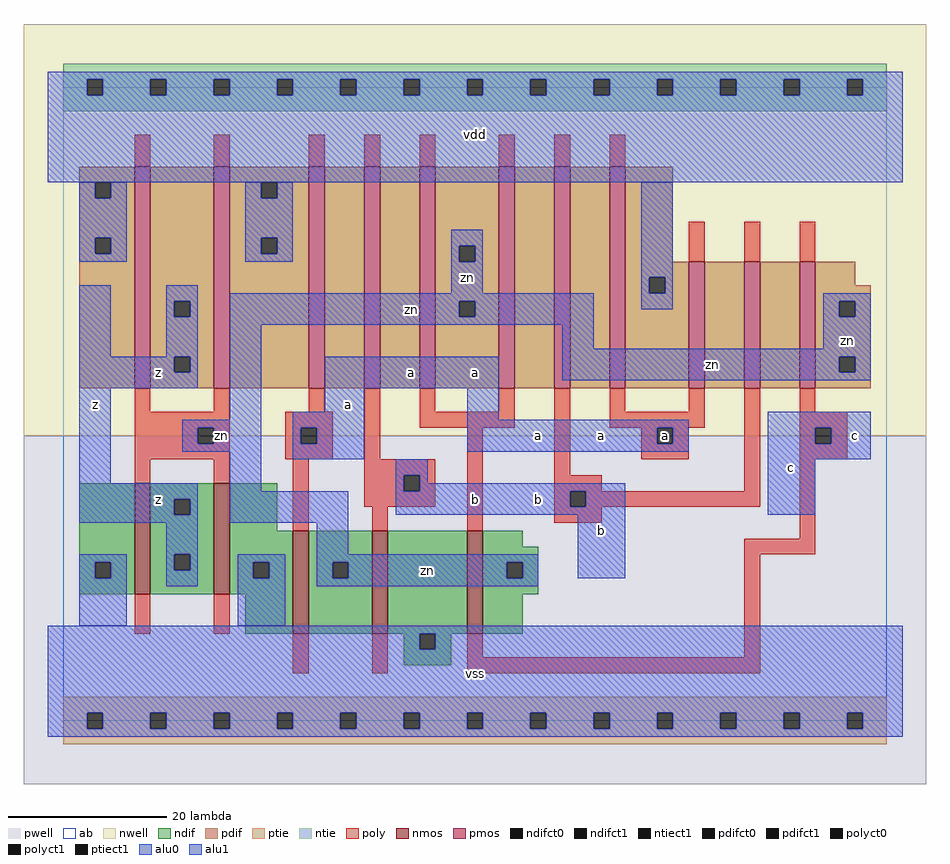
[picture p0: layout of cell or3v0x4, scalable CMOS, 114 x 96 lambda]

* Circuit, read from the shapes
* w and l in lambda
.subckt or3v0x4 a b c vdd vss z zn
M1 z zn vss vss nfet w=14 l=2 m=2
M2 zn a vss vss nfet w=13 l=2
M3 vss b zn vss nfet w=13 l=2
M4 zn c vss vss nfet w=13 l=2
M5 z zn vdd vdd pfet w=28 l=2 m=2
M6 n1 a vdd vdd pfet w=28 l=2
M7 n2 b n1 vdd pfet w=28 l=2
M8 zn c n2 vdd pfet w=28 l=2
M9 n3 c zn vdd pfet w=28 l=2
M10 n4 b n3 vdd pfet w=28 l=2
M11 vdd a n4 vdd pfet w=28 l=2
M12 n5 a vdd vdd pfet w=16 l=2
M13 n6 b n5 vdd pfet w=16 l=2
M14 zn c n6 vdd pfet w=16 l=2
.ends

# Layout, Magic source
magic
tech scmos
<< ab >>
rect 0 0 104 80
<< nwell >>
rect -5 36 109 88
<< pwell >>
rect -5 -8 109 36
<< poly >>
rect 9 70 11 74
rect 19 70 21 74
rect 31 70 33 74
rect 38 70 40 74
rect 45 70 47 74
rect 55 70 57 74
rect 62 70 64 74
rect 69 70 71 74
rect 79 58 81 63
rect 86 58 88 63
rect 93 58 95 63
rect 9 39 11 42
rect 19 39 21 42
rect 31 39 33 42
rect 9 37 21 39
rect 9 35 17 37
rect 19 35 21 37
rect 9 33 21 35
rect 28 37 34 39
rect 28 35 30 37
rect 32 35 34 37
rect 28 33 34 35
rect 38 33 40 42
rect 45 39 47 42
rect 55 39 57 42
rect 45 37 57 39
rect 9 30 11 33
rect 19 30 21 33
rect 29 24 31 33
rect 38 31 47 33
rect 38 29 43 31
rect 45 29 47 31
rect 38 27 47 29
rect 39 24 41 27
rect 51 24 53 37
rect 62 31 64 42
rect 69 39 71 42
rect 79 39 81 42
rect 69 37 81 39
rect 73 35 75 37
rect 77 35 79 37
rect 73 33 79 35
rect 62 29 68 31
rect 86 29 88 42
rect 62 27 64 29
rect 66 27 88 29
rect 93 39 95 42
rect 93 37 99 39
rect 93 35 95 37
rect 97 35 99 37
rect 93 33 99 35
rect 62 25 68 27
rect 9 11 11 16
rect 19 11 21 16
rect 93 23 95 33
rect 86 21 95 23
rect 29 6 31 11
rect 39 6 41 11
rect 51 8 53 11
rect 86 8 88 21
rect 51 6 88 8
<< ndif >>
rect 2 20 9 30
rect 2 18 4 20
rect 6 18 9 20
rect 2 16 9 18
rect 11 28 19 30
rect 11 26 14 28
rect 16 26 19 28
rect 11 21 19 26
rect 11 19 14 21
rect 16 19 19 21
rect 11 16 19 19
rect 21 24 27 30
rect 21 20 29 24
rect 21 18 24 20
rect 26 18 29 20
rect 21 16 29 18
rect 23 11 29 16
rect 31 20 39 24
rect 31 18 34 20
rect 36 18 39 20
rect 31 11 39 18
rect 41 11 51 24
rect 53 22 58 24
rect 53 20 60 22
rect 53 18 56 20
rect 58 18 60 20
rect 53 16 60 18
rect 53 11 58 16
rect 43 9 45 11
rect 47 9 49 11
rect 43 7 49 9
<< pdif >>
rect 2 68 9 70
rect 2 66 4 68
rect 6 66 9 68
rect 2 61 9 66
rect 2 59 4 61
rect 6 59 9 61
rect 2 42 9 59
rect 11 53 19 70
rect 11 51 14 53
rect 16 51 19 53
rect 11 46 19 51
rect 11 44 14 46
rect 16 44 19 46
rect 11 42 19 44
rect 21 68 31 70
rect 21 66 25 68
rect 27 66 31 68
rect 21 61 31 66
rect 21 59 25 61
rect 27 59 31 61
rect 21 42 31 59
rect 33 42 38 70
rect 40 42 45 70
rect 47 60 55 70
rect 47 58 50 60
rect 52 58 55 60
rect 47 53 55 58
rect 47 51 50 53
rect 52 51 55 53
rect 47 42 55 51
rect 57 42 62 70
rect 64 42 69 70
rect 71 58 77 70
rect 71 56 79 58
rect 71 54 74 56
rect 76 54 79 56
rect 71 42 79 54
rect 81 42 86 58
rect 88 42 93 58
rect 95 55 100 58
rect 95 53 102 55
rect 95 51 98 53
rect 100 51 102 53
rect 95 46 102 51
rect 95 44 98 46
rect 100 44 102 46
rect 95 42 102 44
<< alu1 >>
rect -2 81 106 82
rect -2 79 3 81
rect 5 79 11 81
rect 13 79 19 81
rect 21 79 27 81
rect 29 79 35 81
rect 37 79 43 81
rect 45 79 51 81
rect 53 79 59 81
rect 61 79 67 81
rect 69 79 75 81
rect 77 79 83 81
rect 85 79 91 81
rect 93 79 99 81
rect 101 79 106 81
rect -2 68 106 79
rect 2 46 6 55
rect 13 53 17 55
rect 13 51 14 53
rect 16 51 17 53
rect 13 46 17 51
rect 2 44 14 46
rect 16 44 17 46
rect 2 42 17 44
rect 2 30 6 42
rect 33 42 55 46
rect 33 39 38 42
rect 2 28 17 30
rect 2 26 14 28
rect 16 26 17 28
rect 2 25 17 26
rect 29 37 38 39
rect 29 35 30 37
rect 32 35 38 37
rect 29 33 38 35
rect 51 38 55 42
rect 51 37 79 38
rect 51 35 75 37
rect 77 35 79 37
rect 51 34 79 35
rect 89 37 102 39
rect 89 35 95 37
rect 97 35 102 37
rect 89 33 102 35
rect 42 31 46 33
rect 42 29 43 31
rect 45 30 46 31
rect 45 29 71 30
rect 42 27 64 29
rect 66 27 71 29
rect 42 26 71 27
rect 89 26 95 33
rect 13 21 17 25
rect 13 19 14 21
rect 16 19 17 21
rect 13 17 17 19
rect 65 18 71 26
rect -2 11 106 12
rect -2 9 45 11
rect 47 9 106 11
rect -2 1 106 9
rect -2 -1 3 1
rect 5 -1 11 1
rect 13 -1 19 1
rect 21 -1 27 1
rect 29 -1 35 1
rect 37 -1 43 1
rect 45 -1 51 1
rect 53 -1 59 1
rect 61 -1 67 1
rect 69 -1 75 1
rect 77 -1 83 1
rect 85 -1 91 1
rect 93 -1 99 1
rect 101 -1 106 1
rect -2 -2 106 -1
<< ptie >>
rect 0 1 104 3
rect 0 -1 3 1
rect 5 -1 11 1
rect 13 -1 19 1
rect 21 -1 27 1
rect 29 -1 35 1
rect 37 -1 43 1
rect 45 -1 51 1
rect 53 -1 59 1
rect 61 -1 67 1
rect 69 -1 75 1
rect 77 -1 83 1
rect 85 -1 91 1
rect 93 -1 99 1
rect 101 -1 104 1
rect 0 -3 104 -1
<< ntie >>
rect 0 81 104 83
rect 0 79 3 81
rect 5 79 11 81
rect 13 79 19 81
rect 21 79 27 81
rect 29 79 35 81
rect 37 79 43 81
rect 45 79 51 81
rect 53 79 59 81
rect 61 79 67 81
rect 69 79 75 81
rect 77 79 83 81
rect 85 79 91 81
rect 93 79 99 81
rect 101 79 104 81
rect 0 77 104 79
<< nmos >>
rect 9 16 11 30
rect 19 16 21 30
rect 29 11 31 24
rect 39 11 41 24
rect 51 11 53 24
<< pmos >>
rect 9 42 11 70
rect 19 42 21 70
rect 31 42 33 70
rect 38 42 40 70
rect 45 42 47 70
rect 55 42 57 70
rect 62 42 64 70
rect 69 42 71 70
rect 79 42 81 58
rect 86 42 88 58
rect 93 42 95 58
<< polyct0 >>
rect 17 35 19 37
<< polyct1 >>
rect 30 35 32 37
rect 43 29 45 31
rect 75 35 77 37
rect 64 27 66 29
rect 95 35 97 37
<< ndifct0 >>
rect 4 18 6 20
rect 24 18 26 20
rect 34 18 36 20
rect 56 18 58 20
<< ndifct1 >>
rect 14 26 16 28
rect 14 19 16 21
rect 45 9 47 11
<< ntiect1 >>
rect 3 79 5 81
rect 11 79 13 81
rect 19 79 21 81
rect 27 79 29 81
rect 35 79 37 81
rect 43 79 45 81
rect 51 79 53 81
rect 59 79 61 81
rect 67 79 69 81
rect 75 79 77 81
rect 83 79 85 81
rect 91 79 93 81
rect 99 79 101 81
<< ptiect1 >>
rect 3 -1 5 1
rect 11 -1 13 1
rect 19 -1 21 1
rect 27 -1 29 1
rect 35 -1 37 1
rect 43 -1 45 1
rect 51 -1 53 1
rect 59 -1 61 1
rect 67 -1 69 1
rect 75 -1 77 1
rect 83 -1 85 1
rect 91 -1 93 1
rect 99 -1 101 1
<< pdifct0 >>
rect 4 66 6 68
rect 4 59 6 61
rect 25 66 27 68
rect 25 59 27 61
rect 50 58 52 60
rect 50 51 52 53
rect 74 54 76 56
rect 98 51 100 53
rect 98 44 100 46
<< pdifct1 >>
rect 14 51 16 53
rect 14 44 16 46
<< alu0 >>
rect 2 66 4 68
rect 6 66 8 68
rect 2 61 8 66
rect 2 59 4 61
rect 6 59 8 61
rect 2 58 8 59
rect 23 66 25 68
rect 27 66 29 68
rect 23 61 29 66
rect 23 59 25 61
rect 27 59 29 61
rect 23 58 29 59
rect 49 60 53 62
rect 49 58 50 60
rect 52 58 53 60
rect 49 54 53 58
rect 73 56 77 68
rect 73 54 74 56
rect 76 54 77 56
rect 21 53 67 54
rect 21 51 50 53
rect 52 51 67 53
rect 73 52 77 54
rect 96 53 102 54
rect 21 50 67 51
rect 21 38 25 50
rect 63 47 67 50
rect 96 51 98 53
rect 100 51 102 53
rect 96 47 102 51
rect 63 46 102 47
rect 63 44 98 46
rect 100 44 102 46
rect 63 43 102 44
rect 15 37 25 38
rect 15 35 17 37
rect 19 35 25 37
rect 15 34 25 35
rect 21 29 25 34
rect 21 25 36 29
rect 32 21 36 25
rect 2 20 8 21
rect 2 18 4 20
rect 6 18 8 20
rect 2 12 8 18
rect 22 20 28 21
rect 22 18 24 20
rect 26 18 28 20
rect 22 12 28 18
rect 32 20 60 21
rect 32 18 34 20
rect 36 18 56 20
rect 58 18 60 20
rect 32 17 60 18
<< labels >>
rlabel alu0 20 36 20 36 6 zn
rlabel alu0 46 19 46 19 6 zn
rlabel alu0 44 52 44 52 6 zn
rlabel alu0 51 56 51 56 6 zn
rlabel alu0 82 45 82 45 6 zn
rlabel alu0 99 48 99 48 6 zn
rlabel alu1 12 28 12 28 6 z
rlabel alu1 12 44 12 44 6 z
rlabel alu1 4 40 4 40 6 z
rlabel alu1 36 40 36 40 6 a
rlabel alu1 44 44 44 44 6 a
rlabel alu1 52 6 52 6 6 vss
rlabel alu1 52 28 52 28 6 b
rlabel alu1 68 36 68 36 6 a
rlabel polyct1 76 36 76 36 6 a
rlabel alu1 68 24 68 24 6 b
rlabel alu1 60 36 60 36 6 a
rlabel alu1 60 28 60 28 6 b
rlabel alu1 52 44 52 44 6 a
rlabel alu1 52 74 52 74 6 vdd
rlabel alu1 100 36 100 36 6 c
rlabel alu1 92 32 92 32 6 c
<< end >>
